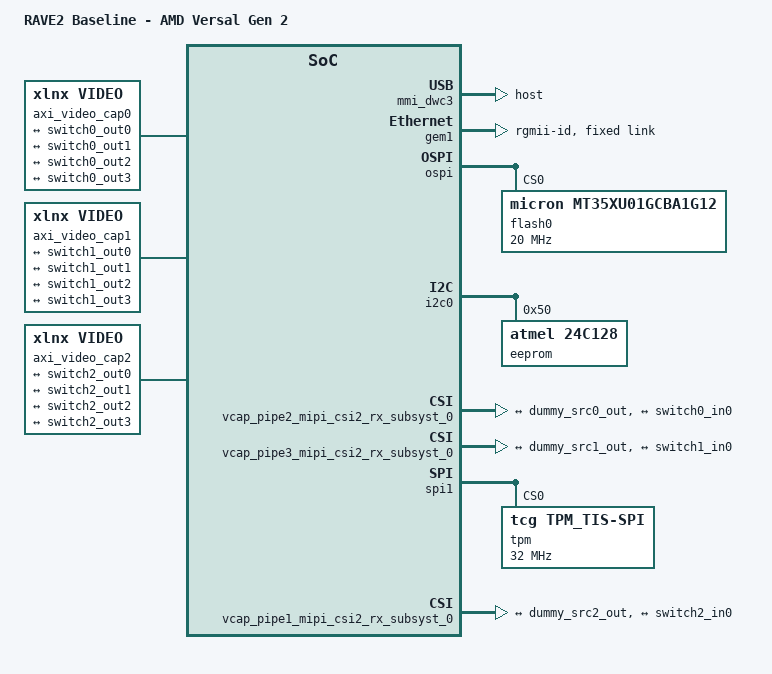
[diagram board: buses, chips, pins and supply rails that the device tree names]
// Copyright © Advanced Micro Devices, Inc., or its affiliates. All rights reserved.
// Copyright (C) 2015-2024 Texas Instruments Incorporated - https://www.ti.com/
// Modifications Copyright(C) 2026 Advanced Micro Devices, Inc. All rights reserved.
// SPDX-License-Identifier: MIT AND BSD-2-Clause
// Contributors: LT, KC, IC
// Maintainer: LT
// DP83867 constants copied from Linux include/dt-bindings/net/ti-dp83867.h
// (GPL-2.0-only OR MIT); MIT selected. GPIO_ACTIVE_LOW copied from
// include/dt-bindings/gpio/gpio.h (GPL-2.0 OR BSD-2-Clause); BSD-2-Clause selected.
#define DP83867_RGMIIDCTL_250_PS        0x0
#define DP83867_RGMIIDCTL_500_PS        0x1
#define DP83867_RGMIIDCTL_750_PS        0x2
#define DP83867_RGMIIDCTL_1_NS          0x3
#define DP83867_RGMIIDCTL_1_25_NS       0x4
#define DP83867_RGMIIDCTL_1_50_NS       0x5
#define DP83867_RGMIIDCTL_1_75_NS       0x6
#define DP83867_RGMIIDCTL_2_00_NS       0x7
#define DP83867_RGMIIDCTL_2_25_NS       0x8
#define DP83867_RGMIIDCTL_2_50_NS       0x9
#define DP83867_RGMIIDCTL_2_75_NS       0xa
#define DP83867_RGMIIDCTL_3_00_NS       0xb
#define DP83867_RGMIIDCTL_3_25_NS       0xc
#define DP83867_RGMIIDCTL_3_50_NS       0xd
#define DP83867_RGMIIDCTL_3_75_NS       0xe
#define DP83867_RGMIIDCTL_4_00_NS       0xf

#define   DP83867_PHYCR_FIFO_DEPTH_4_B_NIB  0x01
#define   GPIO_ACTIVE_LOW 1



/ {
        model = "RAVE2 Baseline - AMD Versal Gen 2";
	compatible = "amd,versal2";
	chosen {
		stdout-path = "serial0:115200n8";
		bootargs = "earlycon=pl011,mmio32,0xf1920000 console=ttyAMA0,115200";
		xen_bootargs = "console=dtuart dtuart=serial0 dom0_mem=1000M dom0_max_vcpus=1 bootscrub=0 vwfi=native";
		dom0_bootargs = "console=hvc0 earlycon=xen earlyprintk=xen clk_ignore_unused";
	};

	reserved-memory {
		#address-cells = <0x2>;
		#size-cells = <0x2>;
		ranges;

		/delete-node/ cma_reserved@800000000;
		// Used to reserve memory for VCU
		shared_dma_reserved: shared_dma_mem_region {
			compatible = "shared-dma-pool";
			reg = <0x8 0x0 0x1 0x40000000>;
			linux,cma-default;
			reusable;
		};

		//npu_dma_reserved: npup_dma_mem_region {
		//	compatible = "shared-dma-pool";
		//	size = <0x0 0x60000000>;
		//	alloc-ranges = <0x500 0x0 0x0 0x80000000>;
		//	no-map;
		//};

	};

        aliases {
		spi0 = "/axi/spi@f1010000";
    spi1 = "/axi/spi@f19d0000";
		nvmem0 = &eeprom;
	};
};

&gpio0 {
        status = "okay";
};

&mmi_dwc3 {
        dr_mode = "host";
        maximum-speed = "super-speed-plus";
        dma-coherent;
        snps,dis_u2_susphy_quirk;
        snps,dis_u3_susphy_quirk;
        snps,usb3_lpm_capable;
};


&gem1 { /* PMC_MIO_48, LPD_MIO0-11/24/25 */
 /*       phy-handle = <&phy1>; */
        phy-mode = "rgmii-id";
 /* MDIO doesnt work from ospi - so fixed link for now */
 /*       mdio: mdio { */
 /*               #address-cells = <1>; */
 /*               #size-cells = <0>; */
 /*               phy1: ethernet-phy@0 {  */
 /*                       #phy-cells = <1>; */
 /*                       compatible = "ethernet-phy-id2000.a231"; */
 /*                       reg = <0>; */
 /*                       ti,rx-internal-delay = <DP83867_RGMIIDCTL_3_00_NS>; */
 /*                       ti,tx-internal-delay = <DP83867_RGMIIDCTL_2_75_NS>; */
 /*                       ti,fifo-depth = <1>; */
 /*                       ti,dp83867-rxctrl-strap-quirk; */
 /*                       reset-assert-us = <100>; */
 /*                       reset-deassert-us = <280>; */
 /*                       reset-gpios = <&gpio0 25 GPIO_ACTIVE_LOW>; */
 /*               }; */
 /*        }; */
        fixed-link { 
                pause; 
                full-duplex; 
                speed = <1000>; 
        };
};

&mmi_10gbe { /* 10GbE direct to switch, no PHY */
        phy-mode = "10gbase-r";
        fixed-link {
                speed = <10000>;
                full-duplex;
        };
};


&ospi { /* PMC_MIO0-10, MIO12 */
        reset-names = "qspi";
        #address-cells = <1>;
        #size-cells = <0>;

	flash0: flash@0 {
		compatible = "micron,mt35xu01gcba1g12", "micron,mt35xu01g", "jedec,spi-nor";
		reg = <0>;
		spi-tx-bus-width = <8>;
		spi-rx-bus-width = <8>;
		spi-max-frequency = <20000000>;
		no-wp;
		spi-nor,octal-dtr-enable;
		boot,primary;
	};
};

&i2c0 {
        eeprom: eeprom@50 {
                compatible = "atmel,24c128";
                bootph-all;
                reg = <0x50>;
        };
};

&amba_pl {

        // Using a flexible dummy sensor driver for CSI-2 connection
        vid_capture_dummy_src_0: dummy_src_0@0 {
                compatible = "xlnx,dummy_src";
                clock-names = "ap_clk";
                clocks = <&misc_clk_2>;
                xlnx,max-height = <2160>;
                xlnx,max-width = <8192>;
                xlnx,ppc = <4>;
                xlnx,s-axi-ctrl-addr-width = <8>;
                xlnx,s-axi-ctrl-data-width = <32>;
                ports {
                        #address-cells = <1>;
                        #size-cells = <0>;
                        port@0 {
                                reg = <0>;
                                xlnx,video-format = <0>;
                                xlnx,video-width = <8>;
                                dummy_src0_out: endpoint {
                                        remote-endpoint = <&csiss0_in>;
                                };
                        };
                };
	};

        // This is to enable the /dev/videoX V4L2 interfaces
        axi_video_cap0 {
                compatible = "xlnx,video";
                dmas = <&vcap_pipe2_v_frmbuf_wr_0 0>,<&vcap_pipe2_v_frmbuf_wr_1 0>,<&vcap_pipe2_v_frmbuf_wr_2 0>,<&vcap_pipe2_v_frmbuf_wr_3 0>;
                dma-names = "port0","port1","port2","port3";

                ports {
                        #address-cells = <1>;
                        #size-cells = <0>;
                        port@0 {
                                reg = <0>;
                                direction = "input";
                                vcap0_in0: endpoint {
                                        remote-endpoint = <&switch0_out0>;
                                };
                        };
                        port@1 {
                                reg = <1>;
                                direction = "input";
                                vcap0_in1: endpoint {
                                        remote-endpoint = <&switch0_out1>;
                                };
                        };
                        port@2 {
                                reg = <2>;
                                direction = "input";
                                vcap0_in2: endpoint {
                                        remote-endpoint = <&switch0_out2>;
                                };
                        };
                        port@3 {
                                reg = <3>;
                                direction = "input";
                                vcap0_in3: endpoint {
                                        remote-endpoint = <&switch0_out3>;
                                };
                        };
                };
        };


        // Using a flexible dummy sensor driver for CSI-2 connection
        vid_capture_dummy_src_1: dummy_src_1@0 {
                compatible = "xlnx,dummy_src";
                clock-names = "ap_clk";
                clocks = <&misc_clk_2>;
                xlnx,max-height = <2160>;
                xlnx,max-width = <8192>;
                xlnx,ppc = <4>;
                xlnx,s-axi-ctrl-addr-width = <8>;
                xlnx,s-axi-ctrl-data-width = <32>;
                ports {
                        #address-cells = <1>;
                        #size-cells = <0>;
                        port@0 {
                                reg = <0>;
                                xlnx,video-format = <0>;
                                xlnx,video-width = <8>;
                                dummy_src1_out: endpoint {
                                        remote-endpoint = <&csiss1_in>;
                                };
                        };
                };
	};

        // This is to enable the /dev/videoX V4L2 interfaces
        axi_video_cap1 {
                compatible = "xlnx,video";
                dmas = <&vcap_pipe3_v_frmbuf_wr_0 0>,<&vcap_pipe3_v_frmbuf_wr_1 0>,<&vcap_pipe3_v_frmbuf_wr_2 0>,<&vcap_pipe3_v_frmbuf_wr_3 0>;
                dma-names = "port0","port1","port2","port3";

                ports {
                        #address-cells = <1>;
                        #size-cells = <0>;
                        port@0 {
                                reg = <0>;
                                direction = "input";
                                vcap1_in0: endpoint {
                                        remote-endpoint = <&switch1_out0>;
                                };
                        };
                        port@1 {
                                reg = <1>;
                                direction = "input";
                                vcap1_in1: endpoint {
                                        remote-endpoint = <&switch1_out1>;
                                };
                        };
                        port@2 {
                                reg = <2>;
                                direction = "input";
                                vcap1_in2: endpoint {
                                        remote-endpoint = <&switch1_out2>;
                                };
                        };
                        port@3 {
                                reg = <3>;
                                direction = "input";
                                vcap1_in3: endpoint {
                                        remote-endpoint = <&switch1_out3>;
                                };
                        };
                };
        };

	// Using a flexible dummy sensor driver for CSI-2 connection
        vid_capture_dummy_src_2: dummy_src_2@0 {
                compatible = "xlnx,dummy_src";
                clock-names = "ap_clk";
                clocks = <&misc_clk_2>;
                xlnx,max-height = <2160>;
                xlnx,max-width = <8192>;
                xlnx,ppc = <4>;
                xlnx,s-axi-ctrl-addr-width = <8>;
                xlnx,s-axi-ctrl-data-width = <32>;
                ports {
                        #address-cells = <1>;
                        #size-cells = <0>;
                        port@0 {
                                reg = <0>;
                                xlnx,video-format = <0>;
                                xlnx,video-width = <8>;
                                dummy_src2_out: endpoint {
                                        remote-endpoint = <&csiss2_in>;
                                };
                        };
                };
	};

        // This is to enable the /dev/videoX V4L2 interfaces
        axi_video_cap2 {
                compatible = "xlnx,video";
                dmas = <&vcap_pipe1_v_frmbuf_wr_0 0>,<&vcap_pipe1_v_frmbuf_wr_1 0>,<&vcap_pipe1_v_frmbuf_wr_2 0>,<&vcap_pipe1_v_frmbuf_wr_3 0>;
                dma-names = "port0","port1","port2","port3";

                ports {
                        #address-cells = <1>;
                        #size-cells = <0>;
                        port@0 {
                                reg = <0>;
                                direction = "input";
                                vcap2_in0: endpoint {
                                        remote-endpoint = <&switch2_out0>;
                                };
                        };
                        port@1 {
                                reg = <1>;
                                direction = "input";
                                vcap2_in1: endpoint {
                                        remote-endpoint = <&switch2_out1>;
                                };
                        };
                        port@2 {
                                reg = <2>;
                                direction = "input";
                                vcap2_in2: endpoint {
                                        remote-endpoint = <&switch2_out2>;
                                };
                        };
                        port@3 {
                                reg = <3>;
                                direction = "input";
                                vcap2_in3: endpoint {
                                        remote-endpoint = <&switch2_out3>;
                                };
                        };
                };
        };

        
};   

// Set the CSI-2 RX to use YUV422 video format
// This is DPHY 0 on IOB
&vcap_pipe2_mipi_csi2_rx_subsyst_0 {
	xlnx,csi-pxl-format = <0x1e>; //YUV
        status = "okay";
	video-reset-gpios = <&axi_gpio_rst 0xa 0x1>;
        interrupts = <0xa 0x2>;
	ports {
		#address-cells = <1>;
		#size-cells = <0>;

		port@0 {
			reg = <0>;

			xlnx,video-format = <0>;
			xlnx,video-width = <8>;

			csiss0_in: endpoint {
				data-lanes = <1 2 3 4>;
				remote-endpoint = <&dummy_src0_out>;
			};
		};
		port@1 {
			reg = <1>;

			xlnx,video-format = <0>;
			xlnx,video-width = <8>;

			csiss0_out: endpoint {
				remote-endpoint = <&switch0_in0>;
			};
		};
	};

};

// SDT is not assign clock for some reason
&vcap_pipe2_axis_switch_0 {
	//compatible = "xlnx,dummy_switch-1.0"; // Dummy Option
	clock-names = "aclk";
	clocks = <&misc_clk_2>;
	ports {
	#address-cells = <1>;
	#size-cells = <0>;
		port@0 {
			reg = <0>;
			xlnx,video-format = <0>;
			xlnx,video-width = <8>;
			switch0_in0: endpoint {
				remote-endpoint = <&csiss0_out>;
			};
		};
		port@1 {
			reg = <1>;
			xlnx,video-format = <0>;
			xlnx,video-width = <8>;
			switch0_out0: endpoint {
				remote-endpoint = <&vcap0_in0>;
			};
		};
		port@2 {
			reg = <2>;
			xlnx,video-format = <0>;
			xlnx,video-width = <8>;
			switch0_out1: endpoint {
				remote-endpoint = <&vcap0_in1>;
			};
		};
                port@3 {
			reg = <3>;
			xlnx,video-format = <0>;
			xlnx,video-width = <8>;
			switch0_out2: endpoint {
				remote-endpoint = <&vcap0_in2>;
			};
		};
                port@4 {
			reg = <4>;
			xlnx,video-format = <0>;
			xlnx,video-width = <8>;
			switch0_out3: endpoint {
				remote-endpoint = <&vcap0_in3>;
			};
		};
	};

};

// TODO - Figure out why SDT is wrong for interrupts
&vcap_pipe2_v_frmbuf_wr_0 {
	interrupts = <0xb 0x2>;
};

&vcap_pipe2_v_frmbuf_wr_1 {
	interrupts = <0xc 0x2>;
};

&vcap_pipe2_v_frmbuf_wr_2 {
	interrupts = <0xd 0x2>;
};

&vcap_pipe2_v_frmbuf_wr_3 {
	interrupts = <0xe 0x2>;
};


// Set the CSI-2 RX to use YUV422 video format
// This is DPHY 1 on IOB
&vcap_pipe3_mipi_csi2_rx_subsyst_0 {
	xlnx,csi-pxl-format = <0x1e>; //YUV
        status = "okay";
	video-reset-gpios = <&axi_gpio_rst 0xf 0x1>;
        interrupts = <0xf 0x2>;
	ports {
		#address-cells = <1>;
		#size-cells = <0>;

		port@0 {
			reg = <0>;

			xlnx,video-format = <0>;
			xlnx,video-width = <8>;

			csiss1_in: endpoint {
				data-lanes = <1 2 3 4>;
				remote-endpoint = <&dummy_src1_out>;
			};
		};
		port@1 {
			reg = <1>;

			xlnx,video-format = <0>;
			xlnx,video-width = <8>;

			csiss1_out: endpoint {
				remote-endpoint = <&switch1_in0>;
			};
		};
	};

};

// SDT is not assign clock for some reason
&vcap_pipe3_axis_switch_0 {
	//compatible = "xlnx,dummy_switch-1.0"; // Dummy Option
	clock-names = "aclk";
	clocks = <&misc_clk_2>;
	ports {
	#address-cells = <1>;
	#size-cells = <0>;
		port@0 {
			reg = <0>;
			xlnx,video-format = <0>;
			xlnx,video-width = <8>;
			switch1_in0: endpoint {
				remote-endpoint = <&csiss1_out>;
			};
		};
		port@1 {
			reg = <1>;
			xlnx,video-format = <0>;
			xlnx,video-width = <8>;
			switch1_out0: endpoint {
				remote-endpoint = <&vcap1_in0>;
			};
		};
		port@2 {
			reg = <2>;
			xlnx,video-format = <0>;
			xlnx,video-width = <8>;
			switch1_out1: endpoint {
				remote-endpoint = <&vcap1_in1>;
			};
		};
                port@3 {
			reg = <3>;
			xlnx,video-format = <0>;
			xlnx,video-width = <8>;
			switch1_out2: endpoint {
				remote-endpoint = <&vcap1_in2>;
			};
		};
                port@4 {
			reg = <4>;
			xlnx,video-format = <0>;
			xlnx,video-width = <8>;
			switch1_out3: endpoint {
				remote-endpoint = <&vcap1_in3>;
			};
		};
	};

};

// TPM module
&spi1 {
    status = "okay";

    tpm@0 {
        compatible = "tcg,tpm_tis-spi","infineon,slb9670";
        reg = <0>;
        mode = <0>;
        spi-max-frequency = <32000000>;

        status = "okay";
    };
};

// TODO - Figure out why SDT is wrong for interrupts
&vcap_pipe3_v_frmbuf_wr_0 {
	interrupts = <0x10 0x2>;
};

&vcap_pipe3_v_frmbuf_wr_1 {
	interrupts = <0x11 0x2>;
};

&vcap_pipe3_v_frmbuf_wr_2 {
	interrupts = <0x12 0x2>;
};

&vcap_pipe3_v_frmbuf_wr_3 {
	interrupts = <0x13 0x2>;
};




// Set the CSI-2 RX to use YUV422 video format
// This is DPHY 2 on IOB
&vcap_pipe1_mipi_csi2_rx_subsyst_0 {
	xlnx,csi-pxl-format = <0x1e>; //YUV
        status = "okay";
	video-reset-gpios = <&axi_gpio_rst 0x5 0x1>;
        interrupts = <0x3 0x2>;
	ports {
		#address-cells = <1>;
		#size-cells = <0>;

		port@0 {
			reg = <0>;

			xlnx,video-format = <0>;
			xlnx,video-width = <8>;

			csiss2_in: endpoint {
				data-lanes = <1 2 3 4>;
				remote-endpoint = <&dummy_src2_out>;
			};
		};
		port@1 {
			reg = <1>;

			xlnx,video-format = <0>;
			xlnx,video-width = <8>;

			csiss2_out: endpoint {
				remote-endpoint = <&switch2_in0>;
			};
		};
	};

};

// SDT is not assign clock for some reason
&vcap_pipe1_axis_switch_0 {
	//compatible = "xlnx,dummy_switch-1.0"; // Dummy Option
	clock-names = "aclk";
	clocks = <&misc_clk_2>;
	ports {
	#address-cells = <1>;
	#size-cells = <0>;
		port@0 {
			reg = <0>;
			xlnx,video-format = <0>;
			xlnx,video-width = <8>;
			switch2_in0: endpoint {
				remote-endpoint = <&csiss2_out>;
			};
		};
		port@1 {
			reg = <1>;
			xlnx,video-format = <0>;
			xlnx,video-width = <8>;
			switch2_out0: endpoint {
				remote-endpoint = <&vcap2_in0>;
			};
		};
		port@2 {
			reg = <2>;
			xlnx,video-format = <0>;
			xlnx,video-width = <8>;
			switch2_out1: endpoint {
				remote-endpoint = <&vcap2_in1>;
			};
		};
                port@3 {
			reg = <3>;
			xlnx,video-format = <0>;
			xlnx,video-width = <8>;
			switch2_out2: endpoint {
				remote-endpoint = <&vcap2_in2>;
			};
		};
                port@4 {
			reg = <4>;
			xlnx,video-format = <0>;
			xlnx,video-width = <8>;
			switch2_out3: endpoint {
				remote-endpoint = <&vcap2_in3>;
			};
		};
	};

};

// TODO - Figure out why SDT is wrong for interrupts
&vcap_pipe1_v_frmbuf_wr_0 {
	interrupts = <0x4 0x2>;
};

&vcap_pipe1_v_frmbuf_wr_1 {
	interrupts = <0x5 0x2>;
};

&vcap_pipe1_v_frmbuf_wr_2 {
	interrupts = <0x6 0x2>;
};

&vcap_pipe1_v_frmbuf_wr_3 {
	interrupts = <0x7 0x2>;
};

